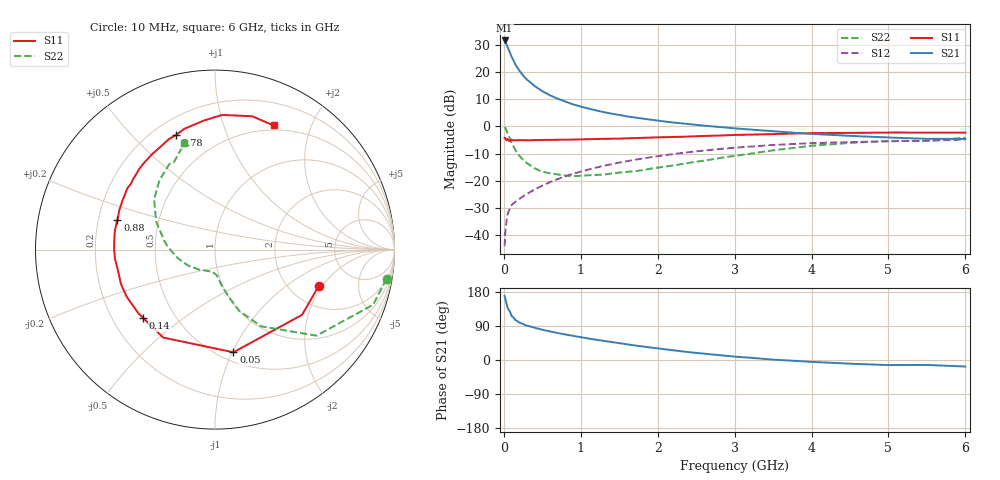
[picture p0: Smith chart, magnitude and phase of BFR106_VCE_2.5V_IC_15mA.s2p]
! Infineon Technologies  Discrete & RF Semiconductors
! BFR106
! VCE =  2.5 V,  IC =  15 mA
! Common Emitter S-Parameters:  Nov 2015
# GHz  S  MA  R  50
!  f  S11  S21  S12  S22
! GHz  MAG  ANG  MAG  ANG  MAG  ANG  MAG  ANG
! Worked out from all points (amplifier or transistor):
!   210 points, 10 MHz to 6 GHz, reference 50 ohm
!   highest |S21| = 31.5 dB at 10 MHz (marker M1)
!   |S21| within 3 dB of that: start of sweep to 58.4 MHz
!   unconditionally stable (mu >= 1): 403.4 MHz to 2.363 GHz; 5.127 GHz to end of sweep
!   at 185 MHz: K = 0.69, MSG = 24.1 dB, |S12| = -27.0 dB
!   at 1.52 GHz: K = 1.07, MAG = 7.0 dB, |S12| = -13.2 dB
!   at 6 GHz: K = 1.01, MAG = -0.5 dB, |S12| = -4.9 dB
!   S11 on the Smith chart (normalised r, x): 10 MHz: 2.87, -1.84; 50 MHz: 0.58, -1.01; 140 MHz: 0.33, -0.36; 880 MHz: 0.28, +0.14; 2.78 GHz: 0.29, +0.67; 6 GHz: 0.44, +1.49
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0.01  0.6127 -19.1  37.69 168.9  0.0063 82.0  0.9694 -9.7
0.02  0.6062 -36.8  36 159.8  0.012 75.7  0.9331 -19.2
0.05  0.5813 -79.8  28.45 136.8  0.0249 59.4  0.7414 -40.3
0.1  0.5689 -120.5  18.98 116.6  0.0355 50.3  0.4986 -59.0
0.14  0.5524 -136.5  14.63 108.4  0.0401 48.9  0.3921 -66.1
0.15  0.5551 -140.5  13.61 105.5  0.0412 48.6  0.3668 -68.5
0.2  0.5576 -151.9  10.59 99.1  0.0462 50.3  0.2902 -72.6
0.24  0.5575 -158.3  8.95 95.2  0.0505 52.1  0.2496 -75.5
0.3  0.5529 -165.8  7.2 90.6  0.0574 54.7  0.2108 -78.9
0.4  0.5596 -174.7  5.486 84.9  0.069 58.1  0.169 -82.6
0.5  0.5623 179.8  4.408 79.8  0.0811 60.4  0.1467 -85.3
0.6  0.5642 174.2  3.708 75.3  0.0944 61.6  0.1371 -88.6
0.7  0.5676 169.5  3.209 71.0  0.1073 62.2  0.1309 -92.8
0.88  0.5681 163.0  2.589 64.5  0.1318 62.3  0.1221 -99.3
1.02  0.5769 157.3  2.261 59.4  0.1501 62.0  0.1246 -105.0
1.4  0.5961 145.1  1.706 47.4  0.2019 59.1  0.1359 -121.8
2.02  0.6269 127.9  1.26 30.1  0.2854 51.4  0.1757 -150.9
2.78  0.674 109.0  0.978 13.2  0.3796 40.1  0.2586 177.8
3.1  0.6982 102.4  0.896 7.5  0.414 34.9  0.2993 166.6
4.1  0.7517 85.6  0.713 -5.8  0.4948 18.9  0.4496 137.9
5.1  0.7694 73.2  0.616 -13.3  0.534 5.7  0.5394 117.5
6  0.7659 64.6  0.588 -17.2  0.5719 -4.2  0.6164 106.1
